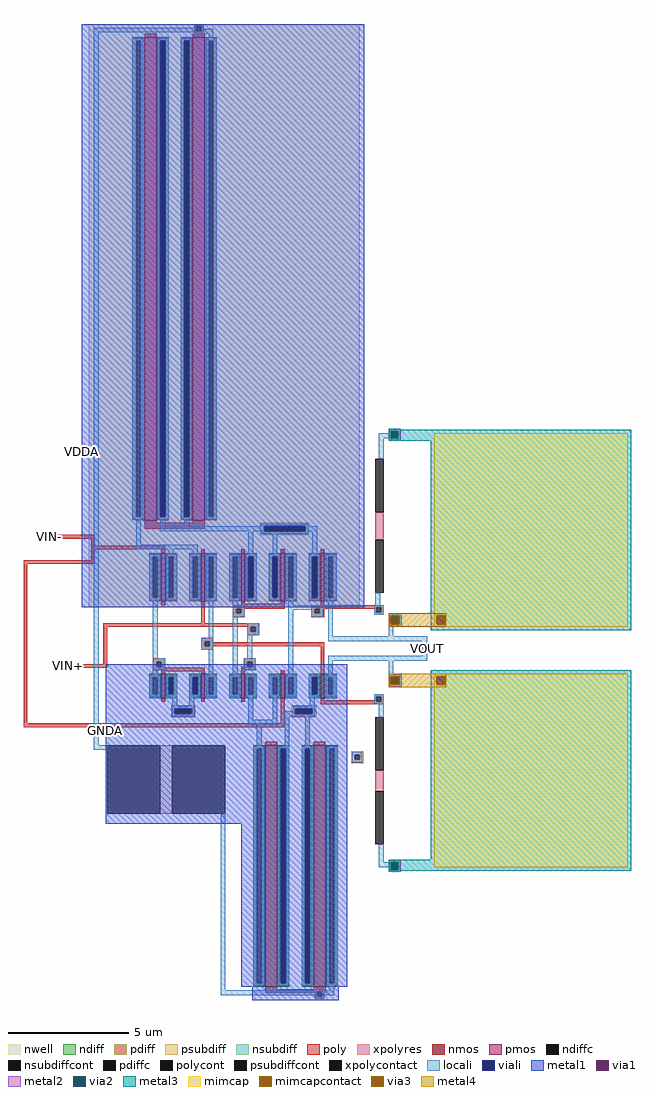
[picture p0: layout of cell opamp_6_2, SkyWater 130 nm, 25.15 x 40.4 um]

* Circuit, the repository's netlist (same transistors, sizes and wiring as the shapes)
* NGSPICE file created from opamp_6_2.ext - technology: sky130A

**.subckt opamp_6_2
X0 a_2700_n50# VIN+ a_2130_1020# VDDA sky130_fd_pr__pfet_01v8 ad=1 pd=5 as=1 ps=5 w=2 l=0.15
X1 GNDA a_2460_n1410# a_3060_n450# GNDA sky130_fd_pr__nfet_01v8 ad=5 pd=21 as=5 ps=21 w=10 l=0.5
X2 VDDA a_2930_n450# a_2930_n450# VDDA sky130_fd_pr__pfet_01v8 ad=1 pd=5 as=1 ps=5 w=2 l=0.15
X3 a_2700_n50# a_2270_n450# GNDA GNDA sky130_fd_pr__nfet_01v8 ad=0.5 pd=3 as=0.5 ps=3 w=1 l=0.15
X4 VOUT a_4140_1090# sky130_fd_pr__cap_mim_m3_1 l=8 w=8
X5 a_3390_n450# VIN- a_3060_n450# GNDA sky130_fd_pr__nfet_01v8 ad=0.5 pd=3 as=0.5 ps=3 w=1 l=0.15
X6 a_2700_n50# a_4140_n1660# GNDA sky130_fd_pr__res_xhigh_po_0p35 l=1.01
X7 a_1920_n1410# a_2460_n1410# GNDA sky130_fd_pr__res_xhigh_po_2p85 l=0.66
X8 a_2130_1020# VIN- a_2270_n450# VDDA sky130_fd_pr__pfet_01v8 ad=1 pd=5 as=1 ps=5 w=2 l=0.15
X9 a_3390_n450# a_2930_n450# VDDA VDDA sky130_fd_pr__pfet_01v8 ad=1 pd=5 as=1 ps=5 w=2 l=0.15
X10 VOUT a_4140_n1660# sky130_fd_pr__cap_mim_m3_1 l=8 w=8
X11 a_4140_1090# a_3390_n450# GNDA sky130_fd_pr__res_xhigh_po_0p35 l=1.31
X12 VOUT a_2700_n50# GNDA GNDA sky130_fd_pr__nfet_01v8 ad=0.5 pd=3 as=0.5 ps=3 w=1 l=0.15
X13 a_2460_n1410# a_2460_n1410# GNDA GNDA sky130_fd_pr__nfet_01v8 ad=5 pd=21 as=5 ps=21 w=10 l=0.5
X14 VOUT a_3390_n450# VDDA VDDA sky130_fd_pr__pfet_01v8 ad=1 pd=5 as=1 ps=5 w=2 l=0.15
X15 a_3060_n450# VIN+ a_2930_n450# GNDA sky130_fd_pr__nfet_01v8 ad=0.5 pd=3 as=0.5 ps=3 w=1 l=0.15
X16 VDDA a_1920_n1410# a_2130_1020# VDDA sky130_fd_pr__pfet_01v8 ad=10 pd=41 as=10 ps=41 w=20 l=0.5
X17 a_1920_n1410# a_1920_n1410# VDDA VDDA sky130_fd_pr__pfet_01v8 ad=10 pd=41 as=10 ps=41 w=20 l=0.5
X18 GNDA a_2270_n450# a_2270_n450# GNDA sky130_fd_pr__nfet_01v8 ad=0.5 pd=3 as=0.5 ps=3 w=1 l=0.15
.ends

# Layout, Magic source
magic
tech sky130A
<< nwell >>
rect 885 150 2005 2565
<< nmos >>
rect 1185 -225 1200 -125
rect 1350 -225 1365 -125
rect 1515 -225 1530 -125
rect 1680 -225 1695 -125
rect 1845 -225 1860 -125
rect 1615 -1420 1665 -420
rect 1815 -1420 1865 -420
<< pmos >>
rect 1115 510 1165 2510
rect 1315 510 1365 2510
rect 1185 175 1200 375
rect 1350 175 1365 375
rect 1515 175 1530 375
rect 1680 175 1695 375
rect 1845 175 1860 375
<< ndiff >>
rect 1135 -140 1185 -125
rect 1135 -210 1150 -140
rect 1170 -210 1185 -140
rect 1135 -225 1185 -210
rect 1200 -140 1250 -125
rect 1200 -210 1215 -140
rect 1235 -210 1250 -140
rect 1200 -225 1250 -210
rect 1300 -140 1350 -125
rect 1300 -210 1315 -140
rect 1335 -210 1350 -140
rect 1300 -225 1350 -210
rect 1365 -140 1415 -125
rect 1365 -210 1380 -140
rect 1400 -210 1415 -140
rect 1365 -225 1415 -210
rect 1465 -140 1515 -125
rect 1465 -210 1480 -140
rect 1500 -210 1515 -140
rect 1465 -225 1515 -210
rect 1530 -140 1580 -125
rect 1530 -210 1545 -140
rect 1565 -210 1580 -140
rect 1530 -225 1580 -210
rect 1630 -140 1680 -125
rect 1630 -210 1645 -140
rect 1665 -210 1680 -140
rect 1630 -225 1680 -210
rect 1695 -140 1745 -125
rect 1695 -210 1710 -140
rect 1730 -210 1745 -140
rect 1695 -225 1745 -210
rect 1795 -140 1845 -125
rect 1795 -210 1810 -140
rect 1830 -210 1845 -140
rect 1795 -225 1845 -210
rect 1860 -140 1910 -125
rect 1860 -210 1875 -140
rect 1895 -210 1910 -140
rect 1860 -225 1910 -210
rect 1565 -435 1615 -420
rect 1565 -1405 1580 -435
rect 1600 -1405 1615 -435
rect 1565 -1420 1615 -1405
rect 1665 -435 1715 -420
rect 1665 -1405 1680 -435
rect 1700 -1405 1715 -435
rect 1665 -1420 1715 -1405
rect 1765 -435 1815 -420
rect 1765 -1405 1780 -435
rect 1800 -1405 1815 -435
rect 1765 -1420 1815 -1405
rect 1865 -435 1915 -420
rect 1865 -1405 1880 -435
rect 1900 -1405 1915 -435
rect 1865 -1420 1915 -1405
<< pdiff >>
rect 1065 2495 1115 2510
rect 1065 525 1080 2495
rect 1100 525 1115 2495
rect 1065 510 1115 525
rect 1165 2495 1215 2510
rect 1165 525 1180 2495
rect 1200 525 1215 2495
rect 1165 510 1215 525
rect 1265 2495 1315 2510
rect 1265 525 1280 2495
rect 1300 525 1315 2495
rect 1265 510 1315 525
rect 1365 2495 1415 2510
rect 1365 525 1380 2495
rect 1400 525 1415 2495
rect 1365 510 1415 525
rect 1135 360 1185 375
rect 1135 190 1150 360
rect 1170 190 1185 360
rect 1135 175 1185 190
rect 1200 360 1250 375
rect 1200 190 1215 360
rect 1235 190 1250 360
rect 1200 175 1250 190
rect 1300 360 1350 375
rect 1300 190 1315 360
rect 1335 190 1350 360
rect 1300 175 1350 190
rect 1365 360 1415 375
rect 1365 190 1380 360
rect 1400 190 1415 360
rect 1365 175 1415 190
rect 1465 360 1515 375
rect 1465 190 1480 360
rect 1500 190 1515 360
rect 1465 175 1515 190
rect 1530 360 1580 375
rect 1530 190 1545 360
rect 1565 190 1580 360
rect 1530 175 1580 190
rect 1630 360 1680 375
rect 1630 190 1645 360
rect 1665 190 1680 360
rect 1630 175 1680 190
rect 1695 360 1745 375
rect 1695 190 1710 360
rect 1730 190 1745 360
rect 1695 175 1745 190
rect 1795 360 1845 375
rect 1795 190 1810 360
rect 1830 190 1845 360
rect 1795 175 1845 190
rect 1860 360 1910 375
rect 1860 190 1875 360
rect 1895 190 1910 360
rect 1860 175 1910 190
<< ndiffc >>
rect 1150 -210 1170 -140
rect 1215 -210 1235 -140
rect 1315 -210 1335 -140
rect 1380 -210 1400 -140
rect 1480 -210 1500 -140
rect 1545 -210 1565 -140
rect 1645 -210 1665 -140
rect 1710 -210 1730 -140
rect 1810 -210 1830 -140
rect 1875 -210 1895 -140
rect 1580 -1405 1600 -435
rect 1680 -1405 1700 -435
rect 1780 -1405 1800 -435
rect 1880 -1405 1900 -435
<< pdiffc >>
rect 1080 525 1100 2495
rect 1180 525 1200 2495
rect 1280 525 1300 2495
rect 1380 525 1400 2495
rect 1150 190 1170 360
rect 1215 190 1235 360
rect 1315 190 1335 360
rect 1380 190 1400 360
rect 1480 190 1500 360
rect 1545 190 1565 360
rect 1645 190 1665 360
rect 1710 190 1730 360
rect 1810 190 1830 360
rect 1875 190 1895 360
<< psubdiff >>
rect 1225 -270 1325 -255
rect 1225 -290 1240 -270
rect 1310 -290 1325 -270
rect 1225 -305 1325 -290
rect 1725 -270 1825 -255
rect 1725 -290 1740 -270
rect 1810 -290 1825 -270
rect 1725 -305 1825 -290
rect 1970 -460 2020 -445
rect 1970 -480 1985 -460
rect 2005 -480 2020 -460
rect 1970 -495 2020 -480
<< nsubdiff >>
rect 1595 485 1795 500
rect 1595 465 1610 485
rect 1780 465 1795 485
rect 1595 450 1795 465
<< psubdiffcont >>
rect 1240 -290 1310 -270
rect 1740 -290 1810 -270
rect 1985 -480 2005 -460
<< nsubdiffcont >>
rect 1610 465 1780 485
<< poly >>
rect 1320 2555 1360 2560
rect 1320 2535 1330 2555
rect 1350 2535 1360 2555
rect 1320 2525 1360 2535
rect 1115 2510 1165 2525
rect 1315 2510 1365 2525
rect 1115 500 1165 510
rect 1315 500 1365 510
rect 1115 475 1365 500
rect 720 435 910 450
rect 895 405 910 435
rect 895 390 1200 405
rect 895 345 910 390
rect 1185 375 1200 390
rect 1350 375 1365 390
rect 1515 375 1530 390
rect 1680 375 1695 390
rect 1845 375 1860 390
rect 615 330 910 345
rect 615 -330 630 330
rect 1185 160 1200 175
rect 1350 85 1365 175
rect 1515 165 1530 175
rect 1680 165 1695 175
rect 1515 160 1695 165
rect 1845 160 1860 175
rect 1480 145 1695 160
rect 1805 150 2105 160
rect 1805 145 2075 150
rect 1480 125 1495 145
rect 1515 125 1530 145
rect 1480 110 1530 125
rect 1805 125 1820 145
rect 1840 125 1860 145
rect 1805 110 1860 125
rect 2065 130 2075 145
rect 2095 130 2105 150
rect 2065 120 2105 130
rect 945 70 1590 85
rect 945 -85 960 70
rect 1540 50 1555 70
rect 1575 50 1590 70
rect 1540 35 1590 50
rect 1350 10 1400 25
rect 1350 -10 1365 10
rect 1385 5 1400 10
rect 1385 -10 1860 5
rect 1350 -25 1400 -10
rect 800 -100 960 -85
rect 1150 -75 1200 -60
rect 1150 -95 1165 -75
rect 1185 -95 1200 -75
rect 1525 -75 1575 -60
rect 1525 -95 1540 -75
rect 1560 -95 1575 -75
rect 1150 -100 1200 -95
rect 1150 -110 1365 -100
rect 1185 -115 1365 -110
rect 1185 -125 1200 -115
rect 1350 -125 1365 -115
rect 1515 -110 1575 -95
rect 1515 -125 1530 -110
rect 1680 -125 1695 -110
rect 1845 -125 1860 -10
rect 2065 -220 2105 -210
rect 1185 -240 1200 -225
rect 1350 -240 1365 -225
rect 1515 -240 1530 -225
rect 1680 -330 1695 -225
rect 1845 -235 1860 -225
rect 2065 -235 2075 -220
rect 1845 -240 2075 -235
rect 2095 -240 2105 -220
rect 1845 -250 2105 -240
rect 615 -345 1695 -330
rect 1615 -420 1665 -405
rect 1815 -420 1865 -405
rect 1615 -1430 1665 -1420
rect 1815 -1430 1865 -1420
rect 1615 -1440 1865 -1430
rect 1615 -1445 1830 -1440
rect 1820 -1460 1830 -1445
rect 1850 -1445 1865 -1440
rect 1850 -1460 1860 -1445
rect 1820 -1470 1860 -1460
<< polycont >>
rect 1330 2535 1350 2555
rect 1495 125 1515 145
rect 1820 125 1840 145
rect 2075 130 2095 150
rect 1555 50 1575 70
rect 1365 -10 1385 10
rect 1165 -95 1185 -75
rect 1540 -95 1560 -75
rect 2075 -240 2095 -220
rect 1830 -1460 1850 -1440
<< xpolycontact >>
rect 2070 545 2105 765
rect 2070 210 2105 430
rect 960 -705 1180 -420
rect 1230 -705 1450 -420
rect 2070 -525 2105 -305
rect 2070 -830 2105 -610
<< xpolyres >>
rect 2070 430 2105 545
rect 1180 -705 1230 -420
rect 2070 -610 2105 -525
<< locali >>
rect 1320 2555 1360 2560
rect 1320 2550 1330 2555
rect 905 2535 1330 2550
rect 1350 2545 1360 2555
rect 1350 2535 1400 2545
rect 905 2530 1400 2535
rect 905 -420 925 2530
rect 1320 2525 1400 2530
rect 1320 2520 1360 2525
rect 1380 2505 1400 2525
rect 1065 2495 1110 2505
rect 1065 525 1080 2495
rect 1100 525 1110 2495
rect 1065 515 1110 525
rect 1170 2495 1215 2505
rect 1170 525 1180 2495
rect 1200 525 1215 2495
rect 1170 515 1215 525
rect 1265 2495 1310 2505
rect 1265 525 1280 2495
rect 1300 525 1310 2495
rect 1265 515 1310 525
rect 1370 2495 1415 2505
rect 1370 525 1380 2495
rect 1400 525 1415 2495
rect 2125 880 2175 890
rect 2125 870 2135 880
rect 2085 850 2135 870
rect 2165 850 2175 880
rect 2085 765 2105 850
rect 2125 840 2175 850
rect 1370 515 1415 525
rect 1080 410 1100 515
rect 1180 485 1200 515
rect 1280 485 1300 515
rect 1600 485 1790 495
rect 1180 465 1610 485
rect 1780 465 1830 485
rect 1080 390 1335 410
rect 1215 370 1235 390
rect 1315 370 1335 390
rect 1545 370 1565 465
rect 1600 455 1790 465
rect 1645 370 1665 455
rect 1810 370 1830 465
rect 1135 360 1180 370
rect 1135 190 1150 360
rect 1170 190 1180 360
rect 1135 180 1180 190
rect 1205 360 1250 370
rect 1205 190 1215 360
rect 1235 190 1250 360
rect 1205 180 1250 190
rect 1300 360 1345 370
rect 1300 190 1315 360
rect 1335 190 1345 360
rect 1300 180 1345 190
rect 1370 360 1415 370
rect 1370 190 1380 360
rect 1400 190 1415 360
rect 1370 180 1415 190
rect 1465 360 1510 370
rect 1465 190 1480 360
rect 1500 190 1510 360
rect 1465 180 1510 190
rect 1535 360 1580 370
rect 1535 190 1545 360
rect 1565 190 1580 360
rect 1535 180 1580 190
rect 1630 360 1675 370
rect 1630 190 1645 360
rect 1665 190 1675 360
rect 1630 180 1675 190
rect 1700 360 1745 370
rect 1700 190 1710 360
rect 1730 190 1745 360
rect 1700 180 1745 190
rect 1795 360 1840 370
rect 1795 190 1810 360
rect 1830 190 1840 360
rect 1795 180 1840 190
rect 1865 360 1910 370
rect 1865 190 1875 360
rect 1895 190 1910 360
rect 1865 180 1910 190
rect 1150 -60 1170 180
rect 1380 25 1400 180
rect 1350 10 1400 25
rect 1350 -10 1365 10
rect 1385 -10 1400 10
rect 1350 -25 1400 -10
rect 1150 -75 1200 -60
rect 1150 -95 1165 -75
rect 1185 -95 1200 -75
rect 1150 -110 1200 -95
rect 1150 -130 1170 -110
rect 1380 -130 1400 -25
rect 1480 160 1500 180
rect 1710 160 1730 180
rect 1480 145 1530 160
rect 1480 125 1495 145
rect 1515 125 1530 145
rect 1480 110 1530 125
rect 1710 145 1855 160
rect 1710 140 1820 145
rect 1480 -130 1500 110
rect 1540 70 1590 85
rect 1540 50 1555 70
rect 1575 50 1590 70
rect 1540 35 1590 50
rect 1540 -60 1560 35
rect 1525 -75 1575 -60
rect 1525 -95 1540 -75
rect 1560 -95 1575 -75
rect 1525 -110 1575 -95
rect 1710 -130 1730 140
rect 1805 125 1820 140
rect 1840 125 1855 145
rect 1805 110 1855 125
rect 1875 30 1895 180
rect 2070 160 2090 210
rect 2065 150 2105 160
rect 2065 130 2075 150
rect 2095 130 2105 150
rect 2065 120 2105 130
rect 2125 115 2180 125
rect 2125 80 2135 115
rect 2170 80 2180 115
rect 2125 70 2180 80
rect 2125 30 2145 70
rect 1875 10 2285 30
rect 2265 -50 2285 10
rect 1875 -70 2285 -50
rect 1875 -130 1895 -70
rect 2125 -125 2145 -70
rect 1135 -140 1180 -130
rect 1135 -210 1150 -140
rect 1170 -210 1180 -140
rect 1135 -220 1180 -210
rect 1205 -140 1250 -130
rect 1205 -210 1215 -140
rect 1235 -210 1250 -140
rect 1205 -220 1250 -210
rect 1230 -260 1250 -220
rect 1300 -140 1345 -130
rect 1300 -210 1315 -140
rect 1335 -210 1345 -140
rect 1300 -220 1345 -210
rect 1370 -140 1415 -130
rect 1370 -210 1380 -140
rect 1400 -210 1415 -140
rect 1370 -220 1415 -210
rect 1465 -140 1510 -130
rect 1465 -210 1480 -140
rect 1500 -210 1510 -140
rect 1465 -220 1510 -210
rect 1535 -140 1580 -130
rect 1535 -210 1545 -140
rect 1565 -210 1580 -140
rect 1535 -220 1580 -210
rect 1630 -140 1675 -130
rect 1630 -210 1645 -140
rect 1665 -210 1675 -140
rect 1630 -220 1675 -210
rect 1700 -140 1745 -130
rect 1700 -210 1710 -140
rect 1730 -210 1745 -140
rect 1700 -220 1745 -210
rect 1795 -140 1840 -130
rect 1795 -210 1810 -140
rect 1830 -210 1840 -140
rect 1795 -220 1840 -210
rect 1865 -140 1910 -130
rect 1865 -210 1875 -140
rect 1895 -210 1910 -140
rect 2125 -135 2180 -125
rect 2125 -170 2135 -135
rect 2170 -170 2180 -135
rect 2125 -180 2180 -170
rect 1865 -220 1910 -210
rect 2065 -220 2105 -210
rect 1300 -260 1320 -220
rect 1230 -270 1320 -260
rect 1230 -290 1240 -270
rect 1310 -290 1320 -270
rect 1230 -300 1320 -290
rect 1545 -315 1565 -220
rect 1645 -315 1665 -220
rect 1800 -260 1820 -220
rect 2065 -240 2075 -220
rect 2095 -240 2105 -220
rect 2065 -250 2105 -240
rect 1730 -270 1820 -260
rect 1730 -280 1740 -270
rect 1545 -335 1665 -315
rect 1695 -290 1740 -280
rect 1810 -290 1820 -270
rect 1695 -300 1820 -290
rect 905 -440 960 -420
rect 1580 -425 1600 -335
rect 1695 -425 1715 -300
rect 1780 -425 1800 -300
rect 2085 -305 2105 -250
rect 1430 -1435 1450 -705
rect 1565 -435 1610 -425
rect 1565 -1405 1580 -435
rect 1600 -1405 1610 -435
rect 1565 -1415 1610 -1405
rect 1670 -435 1715 -425
rect 1670 -1405 1680 -435
rect 1700 -1405 1715 -435
rect 1670 -1415 1715 -1405
rect 1765 -435 1810 -425
rect 1765 -1405 1780 -435
rect 1800 -1405 1810 -435
rect 1765 -1415 1810 -1405
rect 1870 -435 1915 -425
rect 1870 -1405 1880 -435
rect 1900 -1405 1915 -435
rect 1975 -460 2015 -450
rect 1975 -480 1985 -460
rect 2005 -480 2015 -460
rect 1975 -490 2015 -480
rect 2085 -905 2105 -830
rect 2125 -905 2175 -895
rect 2085 -925 2135 -905
rect 2125 -935 2135 -925
rect 2165 -935 2175 -905
rect 2125 -945 2175 -935
rect 1870 -1415 1915 -1405
rect 1820 -1435 1860 -1430
rect 1880 -1435 1900 -1415
rect 1430 -1440 1900 -1435
rect 1430 -1455 1830 -1440
rect 1820 -1460 1830 -1455
rect 1850 -1455 1900 -1440
rect 1850 -1460 1860 -1455
rect 1820 -1470 1860 -1460
<< viali >>
rect 1180 525 1200 2495
rect 1280 525 1300 2495
rect 2135 850 2165 880
rect 1610 465 1780 485
rect 1545 190 1565 360
rect 1645 190 1665 360
rect 1810 190 1830 360
rect 2135 80 2170 115
rect 1215 -210 1235 -140
rect 1315 -210 1335 -140
rect 1810 -210 1830 -140
rect 2135 -170 2170 -135
rect 1240 -290 1310 -270
rect 1740 -290 1810 -270
rect 1680 -1405 1700 -435
rect 1780 -1405 1800 -435
rect 2135 -935 2165 -905
<< metal1 >>
rect 855 2495 2025 2565
rect 855 525 1180 2495
rect 1200 525 1280 2495
rect 1300 525 2025 2495
rect 2125 880 2175 890
rect 2125 850 2135 880
rect 2165 850 2175 880
rect 2125 840 2175 850
rect 855 485 2025 525
rect 855 465 1610 485
rect 1780 465 2025 485
rect 855 360 2025 465
rect 855 190 1545 360
rect 1565 190 1645 360
rect 1665 190 1810 360
rect 1830 190 2025 360
rect 855 150 2025 190
rect 2125 115 2180 125
rect 2125 80 2135 115
rect 2170 80 2180 115
rect 2125 70 2180 80
rect 955 -140 1955 -85
rect 955 -210 1215 -140
rect 1235 -210 1315 -140
rect 1335 -210 1810 -140
rect 1830 -210 1955 -140
rect 2125 -135 2180 -125
rect 2125 -170 2135 -135
rect 2170 -170 2180 -135
rect 2125 -180 2180 -170
rect 955 -270 1955 -210
rect 955 -290 1240 -270
rect 1310 -290 1740 -270
rect 1810 -290 1955 -270
rect 955 -435 1955 -290
rect 955 -745 1680 -435
rect 1515 -1405 1680 -745
rect 1700 -1405 1780 -435
rect 1800 -1405 1955 -435
rect 2125 -905 2175 -895
rect 2125 -935 2135 -905
rect 2165 -935 2175 -905
rect 2125 -945 2175 -935
rect 1515 -1420 1955 -1405
rect 1560 -1475 1920 -1420
<< via1 >>
rect 2135 850 2165 880
rect 2135 80 2170 115
rect 2135 -170 2170 -135
rect 2135 -935 2165 -905
<< metal2 >>
rect 2125 880 2175 890
rect 2125 850 2135 880
rect 2165 850 2175 880
rect 2125 840 2175 850
rect 2125 115 2180 125
rect 2125 80 2135 115
rect 2170 80 2180 115
rect 2125 70 2180 80
rect 2125 -135 2180 -125
rect 2125 -170 2135 -135
rect 2170 -170 2180 -135
rect 2125 -180 2180 -170
rect 2125 -905 2175 -895
rect 2125 -935 2135 -905
rect 2165 -935 2175 -905
rect 2125 -945 2175 -935
<< via2 >>
rect 2135 850 2165 880
rect 2135 80 2170 115
rect 2135 -170 2170 -135
rect 2135 -935 2165 -905
<< metal3 >>
rect 2125 885 2175 890
rect 2125 880 3130 885
rect 2125 850 2135 880
rect 2165 850 3130 880
rect 2125 840 3130 850
rect 2125 115 2180 125
rect 2125 80 2135 115
rect 2170 80 2180 115
rect 2125 70 2180 80
rect 2300 55 3130 840
rect 2125 -135 2180 -125
rect 2125 -170 2135 -135
rect 2170 -170 2180 -135
rect 2125 -180 2180 -170
rect 2300 -895 3130 -110
rect 2125 -905 3130 -895
rect 2125 -935 2135 -905
rect 2165 -935 3130 -905
rect 2125 -940 3130 -935
rect 2125 -945 2175 -940
<< via3 >>
rect 2135 80 2170 115
rect 2135 -170 2170 -135
<< mimcap >>
rect 2315 115 3115 870
rect 2315 80 2325 115
rect 2360 80 3115 115
rect 2315 70 3115 80
rect 2315 -135 3115 -125
rect 2315 -170 2325 -135
rect 2360 -170 3115 -135
rect 2315 -925 3115 -170
<< mimcapcontact >>
rect 2325 80 2360 115
rect 2325 -170 2360 -135
<< metal4 >>
rect 2125 115 2365 125
rect 2125 80 2135 115
rect 2170 80 2325 115
rect 2360 80 2365 115
rect 2125 70 2365 80
rect 2125 -135 2365 -125
rect 2125 -170 2135 -135
rect 2170 -170 2325 -135
rect 2360 -170 2365 -135
rect 2125 -180 2365 -170
<< labels >>
flabel metal1 855 795 855 795 7 FreeSans 400 0 0 0 VDDA
flabel metal1 955 -360 955 -360 7 FreeSans 400 0 0 0 GNDA
flabel locali 2285 -20 2285 -20 3 FreeSans 400 0 0 0 VOUT
flabel poly 720 445 720 445 7 FreeSans 400 0 0 0 VIN-
flabel poly 800 -90 800 -90 7 FreeSans 400 0 0 0 VIN+
<< end >>
